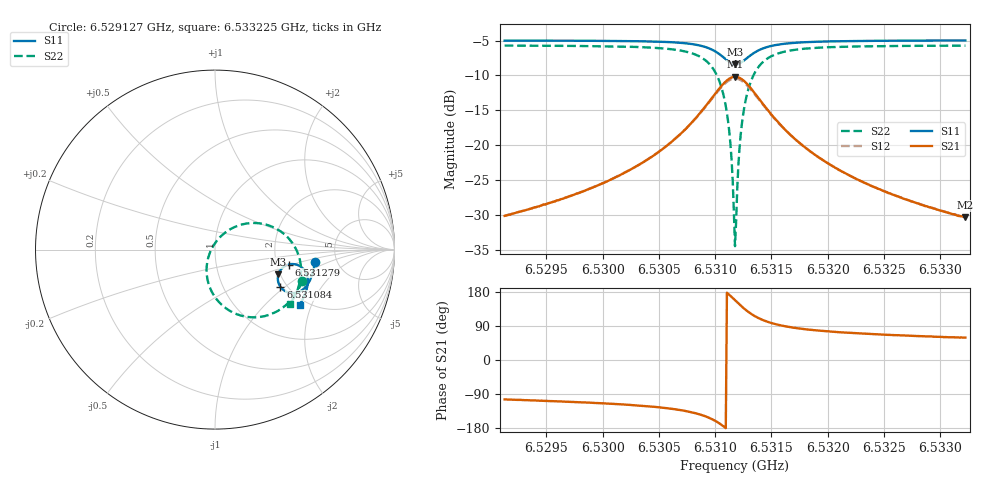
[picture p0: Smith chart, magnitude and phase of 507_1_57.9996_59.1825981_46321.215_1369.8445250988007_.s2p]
#  HZ  S  RI  R  50.00
! Rohde & Schwarz Vector Network Analyzer
! Rohde-Schwarz,ZNB20-2Port,1311601062101988,3.16
! Created: UTC 3/21/2024, 1:13:01 AM
! freq[Hz]  re:S11  im:S11  re:S21  im:S21  re:S12  im:S12  re:S22  im:S22
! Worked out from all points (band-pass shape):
!   401 points, 6.529127 GHz to 6.533225 GHz, reference 50 ohm
!   highest |S21| = -10.19 dB at 6.531176 GHz (marker M1); lowest = -30.3 dB at 6.533225 GHz (marker M2)
!   |S21| within 3 dB of the highest: 6.530973 GHz to 6.531383 GHz (409.7 kHz wide, 0.00627 % of centre)
!   lowest |S11| = -8.4 dB at 6.531176 GHz (marker M3), VSWR 2.22, Z = 98 - j31.4 ohm
!   |S11| at or under -10 dB: nowhere
!   |S22| runs from -34.4 to -5.7 dB; largest |S21 - S12| = 0.012
!   S11 on the Smith chart (normalised r, x): 6.529127 GHz: 3.41, -0.68; 6.531084 GHz: 1.84, -0.93; 6.531279 GHz: 2.32, -0.47; 6.533225 GHz: 1.82, -1.64
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6.5291275e9  0.5566 -0.0686  -0.00757 -0.0304  -0.00821 -0.0303  0.4874 -0.1725
6.5298138e9  0.5455 -0.1256  -0.0172 -0.0431  -0.0183 -0.0429  0.4559 -0.2362
6.5305002e9  0.5163 -0.1937  -0.0515 -0.0739  -0.0535 -0.0725  0.3738 -0.3264
6.5307358e9  0.4888 -0.2231  -0.0916 -0.0931  -0.0943 -0.0902  0.2927 -0.3663
6.53091e9  0.4446 -0.2418  -0.16 -0.0991  -0.1624 -0.0926  0.1659 -0.3725
6.5310124e9  0.3995 -0.2358  -0.2298 -0.072  -0.229 -0.0626  0.0476 -0.3165
6.5310841e9  0.3648 -0.2076  -0.2811 -0.0128  -0.2753 -0.00298  -0.0297 -0.2085
6.5311251e9  0.3521 -0.1793  -0.297 0.0407  -0.2878 0.0485  -0.0471 -0.1172
6.5311661e9  0.3515 -0.1456  -0.2917 0.1016  -0.2808 0.106  -0.0287 -0.0178
6.5311763e9  0.3534 -0.1371  -0.2866 0.1167  -0.2756 0.1199  -0.018 0.00596
6.5311866e9  0.3567 -0.1289  -0.2799 0.1309  -0.2691 0.1333  -0.00478 0.0284
6.5311968e9  0.3604 -0.1213  -0.2721 0.1446  -0.2611 0.1459  0.0103 0.0493
6.5312173e9  0.3704 -0.1074  -0.2528 0.1686  -0.2425 0.1682  0.0456 0.086
6.5312276e9  0.3762 -0.1014  -0.2416 0.1791  -0.232 0.1779  0.0655 0.1011
6.531248e9  0.3893 -0.0918  -0.2177 0.1958  -0.2093 0.1935  0.1074 0.125
6.5312788e9  0.4099 -0.0831  -0.1804 0.2111  -0.1737 0.2078  0.1718 0.1446
6.5313505e9  0.4534 -0.0836  -0.1043 0.2127  -0.1008 0.2094  0.3 0.1345
6.5314529e9  0.4911 -0.1066  -0.0389 0.1807  -0.0374 0.1789  0.4064 0.0667
6.5316066e9  0.5123 -0.1432  0.000282 0.1332  0.00128 0.1326  0.4649 -0.0296
6.5318627e9  0.5168 -0.187  0.0165 0.0871  0.0175 0.0866  0.4796 -0.1277
6.5325491e9  0.4973 -0.2578  0.0182 0.0416  0.019 0.0413  0.4511 -0.2447
6.5332252e9  0.4708 -0.3082  0.0157 0.0262  0.0164 0.0259  0.4167 -0.3052
